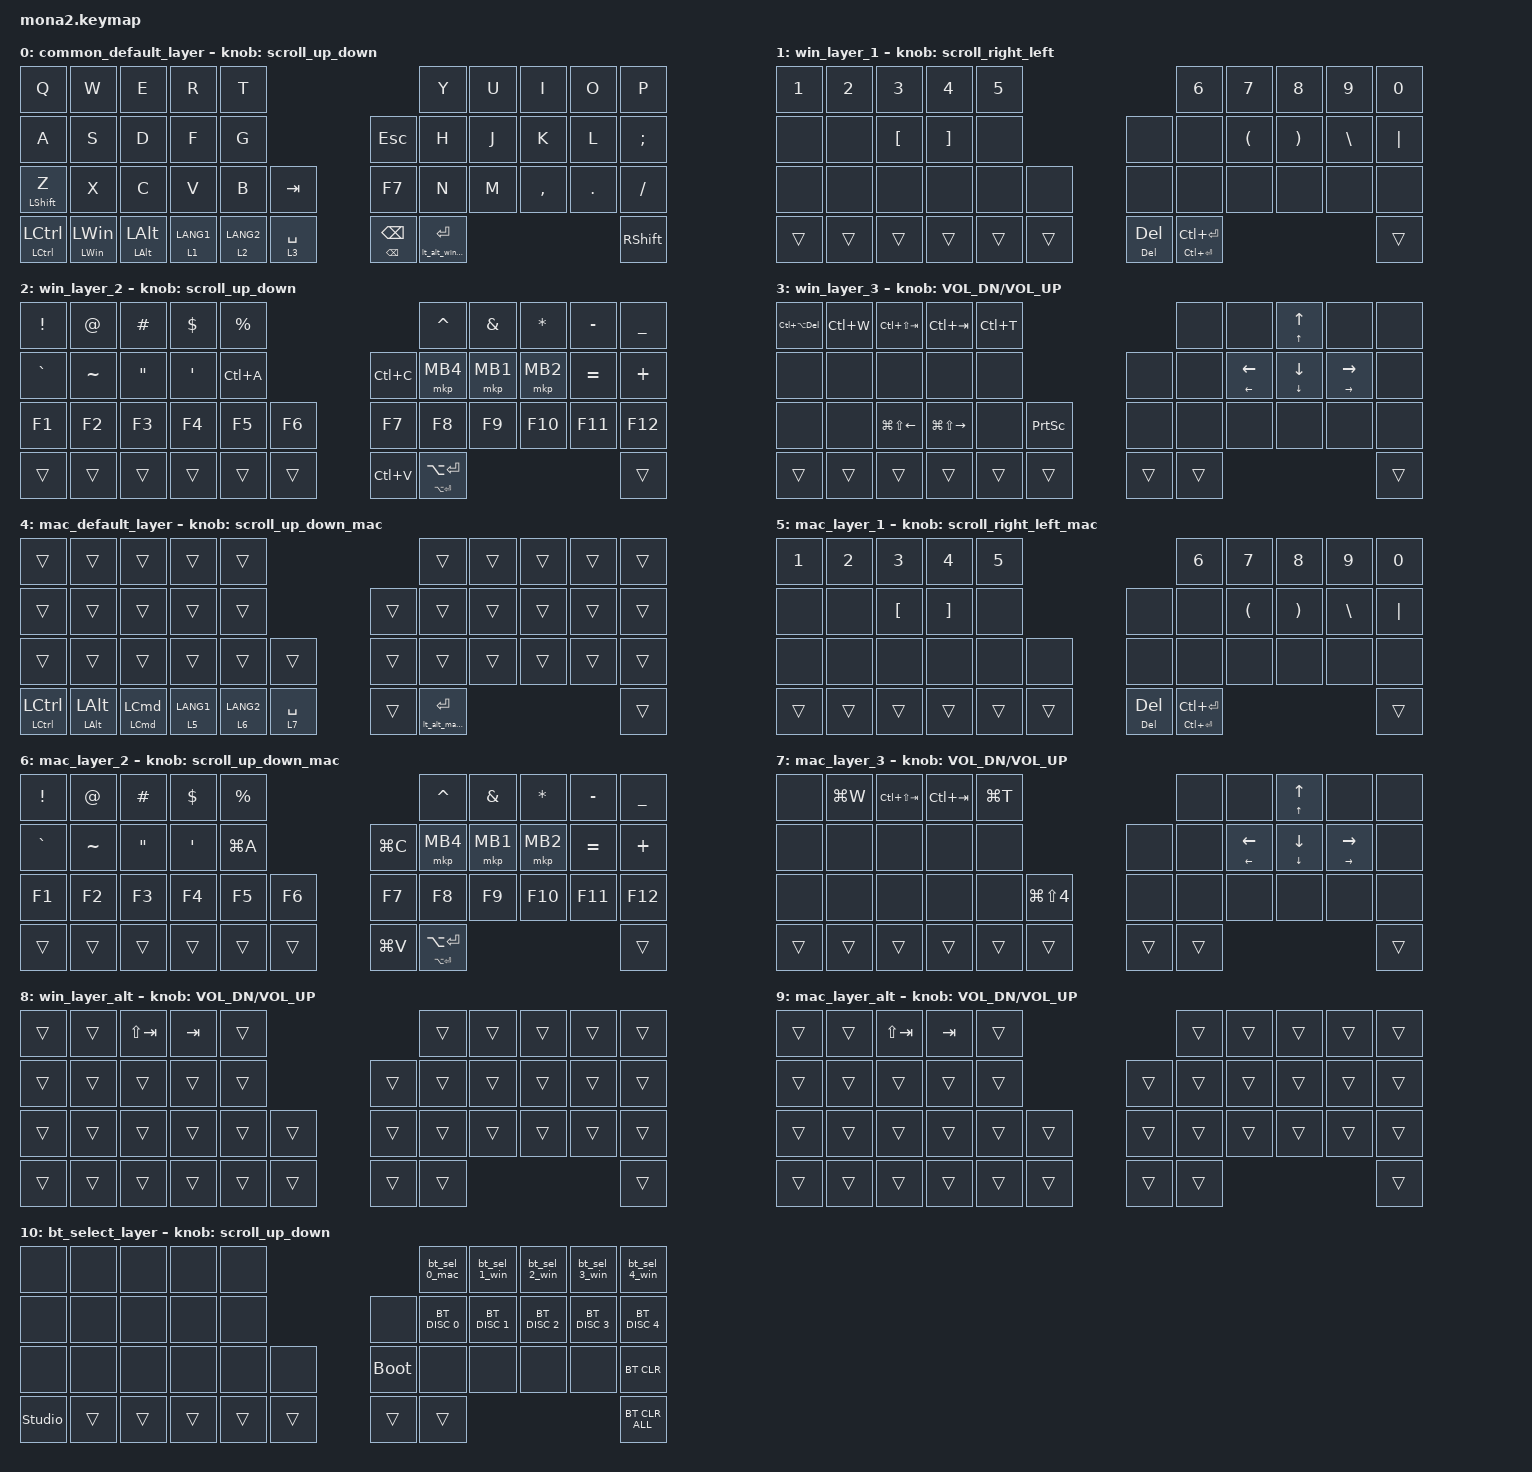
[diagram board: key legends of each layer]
#include <input/processors.dtsi>
#include <dt-bindings/zmk/input_transform.h>
#include <zephyr/dt-bindings/input/input-event-codes.h>
#include <behaviors.dtsi>
#include <dt-bindings/zmk/bt.h>
#include <dt-bindings/zmk/keys.h>
#include <dt-bindings/zmk/pointing.h>

#define ZMK_POINTING_DEFAULT_SCRL_VAL 100

&mt {
    flavor = "balanced";
    quick-tap-ms = <0>;
};

&lt {
    quick-tap-ms = <300>;
    flavor = "balanced";
};

/ {
    combos {
        compatible = "zmk,combos";

        layer4_ESC {
            bindings = <&lt 10 ESC>;
            key-positions = <39 38>;
        };
    };

    macros {
        bt_sel_0_mac: bt_sel_0_mac {
            compatible = "zmk,behavior-macro";
            #binding-cells = <0>;
            bindings = <&bt BT_SEL 0 &to 4>;
            label = "BT_SEL_0_MAC";
        };

        bt_sel_1_win: bt_sel_1_win {
            compatible = "zmk,behavior-macro";
            #binding-cells = <0>;
            bindings = <&bt BT_SEL 1 &to 0>;
            label = "BT_SEL_1_WIN";
        };

        bt_sel_2_win: bt_sel_2_win {
            compatible = "zmk,behavior-macro";
            #binding-cells = <0>;
            bindings = <&bt BT_SEL 2 &to 0>;
            label = "BT_SEL_2_WIN";
        };

        bt_sel_3_win: bt_sel_3_win {
            compatible = "zmk,behavior-macro";
            #binding-cells = <0>;
            bindings = <&bt BT_SEL 3 &to 0>;
            label = "BT_SEL_3_WIN";
        };

        bt_sel_4_win: bt_sel_4_win {
            compatible = "zmk,behavior-macro";
            #binding-cells = <0>;
            bindings = <&bt BT_SEL 4 &to 0>;
            label = "BT_SEL_4_WIN";
        };

        lt_alt_win: lt_alt_win {
            compatible = "zmk,behavior-macro";
            #binding-cells = <0>;
            bindings =
                <&macro_press>,
                <&kp LALT>,
                <&macro_press>,
                <&mo 8>,
                <&macro_pause_for_release>,
                <&macro_release>,
                <&mo 8>,
                <&macro_release>,
                <&kp LALT>;

            label = "LT_ALT_WIN";
        };

        lt_alt_mac: lt_alt_mac {
            compatible = "zmk,behavior-macro";
            #binding-cells = <0>;
            bindings =
                <&macro_press>,
                <&kp LGUI>,
                <&macro_press>,
                <&mo 9>,
                <&macro_pause_for_release>,
                <&macro_release>,
                <&mo 9>,
                <&macro_release>,
                <&kp LGUI>;

            label = "LT_ALT_MAC";
        };

        lt_alt_win_ht: lt_alt_win_ht {
            compatible = "zmk,behavior-macro-one-param";
            #binding-cells = <1>;
            bindings =
                <&macro_press>,
                <&kp LALT>,
                <&macro_press>,
                <&mo 8>,
                <&macro_pause_for_release>,
                <&macro_release>,
                <&mo 8>,
                <&macro_release>,
                <&kp LALT>;

            label = "LT_ALT_WIN_HT";
        };

        lt_alt_mac_ht: lt_alt_mac_ht {
            compatible = "zmk,behavior-macro-one-param";
            #binding-cells = <1>;
            bindings =
                <&macro_press>,
                <&kp LGUI>,
                <&macro_press>,
                <&mo 9>,
                <&macro_pause_for_release>,
                <&macro_release>,
                <&mo 9>,
                <&macro_release>,
                <&kp LGUI>;

            label = "LT_ALT_MAC_HT";
        };
    };

    behaviors {
        scroll_up_down: mouse_wheel_up_down {
            compatible = "zmk,behavior-sensor-rotate";
            #sensor-binding-cells = <0>;
            bindings = <&msc SCRL_DOWN>, <&msc SCRL_UP>;

            tap-ms = <20>;
        };

        scroll_right_left: mouse_wheel_right_left {
            compatible = "zmk,behavior-sensor-rotate";
            #sensor-binding-cells = <0>;
            bindings = <&msc SCRL_LEFT>, <&msc SCRL_RIGHT>;

            tap-ms = <20>;
        };

        scroll_up_down_mac: mouse_wheel_up_down_mac {
            compatible = "zmk,behavior-sensor-rotate";
            #sensor-binding-cells = <0>;
            bindings = <&msc SCRL_UP>, <&msc SCRL_DOWN>;

            tap-ms = <20>;
        };

        scroll_right_left_mac: mouse_wheel_right_left_mac {
            compatible = "zmk,behavior-sensor-rotate";
            #sensor-binding-cells = <0>;
            bindings = <&msc SCRL_LEFT>, <&msc SCRL_RIGHT>;

            tap-ms = <20>;
        };

        enter_alt_win: enter_alt_win {
            compatible = "zmk,behavior-hold-tap";
            #binding-cells = <2>;
            tapping-term-ms = <200>;
            quick-tap-ms = <300>;
            flavor = "balanced";
            bindings = <&lt_alt_win_ht &kp>;
        };

        enter_alt_mac: enter_alt_mac {
            compatible = "zmk,behavior-hold-tap";
            #binding-cells = <2>;
            tapping-term-ms = <200>;
            quick-tap-ms = <300>;
            flavor = "balanced";
            bindings = <&lt_alt_mac_ht &kp>;
        };

    };

    keymap {
        compatible = "zmk,keymap";

        common_default_layer {
            bindings = <
&kp Q                          &kp W                  &kp E                  &kp R        &kp T                                                &kp Y            &kp U  &kp I      &kp O    &kp P
&kp A                          &kp S                  &kp D                  &kp F        &kp G                       &kp ESCAPE               &kp H            &kp J  &kp K      &kp L    &kp SEMICOLON
&mt LSHIFT Z                   &kp X                  &kp C                  &kp V        &kp B        &kp TAB        &kp F7                   &kp N            &kp M  &kp COMMA  &kp DOT  &kp SLASH
&mt LEFT_CONTROL LEFT_CONTROL  &mt LEFT_WIN LEFT_WIN  &mt LEFT_ALT LEFT_ALT  &lt 1 LANG1  &lt 2 LANG2  &lt 3 SPACE    &mt BACKSPACE BACKSPACE  &enter_alt_win 0 ENTER                             &kp RIGHT_SHIFT
            >;

            sensor-bindings = <&scroll_up_down>;
        };

        win_layer_1 {
            bindings = <
&kp NUMBER_1  &kp NUMBER_2  &kp NUMBER_3      &kp NUMBER_4       &kp NUMBER_5                               &kp NUMBER_6             &kp NUMBER_7          &kp NUMBER_8           &kp NUMBER_9   &kp NUMBER_0
&none         &none         &kp LEFT_BRACKET  &kp RIGHT_BRACKET  &none                   &none              &none                    &kp LEFT_PARENTHESIS  &kp RIGHT_PARENTHESIS  &kp BACKSLASH  &kp PIPE
&none         &none         &none             &none              &none         &none     &none              &none                    &none                 &none                  &none          &none
&trans        &trans        &trans            &trans             &trans        &trans    &mt DELETE DELETE  &mt LC(ENTER) LC(ENTER)                                                              &trans
            >;

            sensor-bindings = <&scroll_right_left>;
        };

        win_layer_2 {
            bindings = <
&kp EXCLAMATION  &kp AT_SIGN  &kp POUND          &kp DOLLAR  &kp PERCENT                       &kp CARET                &kp AMPERSAND  &kp ASTERISK  &kp MINUS  &kp UNDERSCORE
&kp GRAVE        &kp TILDE    &kp DOUBLE_QUOTES  &kp SQT     &kp LC(A)              &kp LC(C)  &mkp MB4                 &mkp MB1       &mkp MB2      &kp EQUAL  &kp PLUS
&kp F1           &kp F2       &kp F3             &kp F4      &kp F5       &kp F6    &kp F7     &kp F8                   &kp F9         &kp F10       &kp F11    &kp F12
&trans           &trans       &trans             &trans      &trans       &trans    &kp LC(V)  &mt LA(ENTER) LA(ENTER)                                          &trans
            >;

            sensor-bindings = <&scroll_up_down>;
        };

        win_layer_3 {
            bindings = <
&kp LC(LA(DELETE))  &kp LC(W)  &kp LC(LS(TAB))         &kp LC(TAB)              &kp LC(T)                             &none   &none                      &mt UP_ARROW UP_ARROW      &none                        &none
&none               &none      &none                   &none                    &none                         &none   &none   &mt LEFT_ARROW LEFT_ARROW  &mt DOWN_ARROW DOWN_ARROW  &mt RIGHT_ARROW RIGHT_ARROW  &none
&none               &none      &kp LG(LS(LEFT_ARROW))  &kp LG(LS(RIGHT_ARROW))  &none      &kp PRINTSCREEN    &none   &none   &none                      &none                      &none                        &none
&trans              &trans     &trans                  &trans                   &trans     &trans             &trans  &trans                                                                                     &trans
            >;

            sensor-bindings = <&inc_dec_kp C_VOL_DN C_VOL_UP>;
        };

        mac_default_layer {
            bindings = <
&trans                         &trans                 &trans                         &trans       &trans                              &trans  &trans  &trans  &trans  &trans
&trans                         &trans                 &trans                         &trans       &trans                      &trans  &trans  &trans  &trans  &trans  &trans
&trans                         &trans                 &trans                         &trans       &trans       &trans         &trans  &trans  &trans  &trans  &trans  &trans
&mt LEFT_CONTROL LEFT_CONTROL  &mt LEFT_ALT LEFT_ALT  &mt LEFT_COMMAND LEFT_COMMAND  &lt 5 LANG1  &lt 6 LANG2  &lt 7 SPACE    &trans  &enter_alt_mac 0 ENTER                          &trans
            >;

            sensor-bindings = <&scroll_up_down_mac>;
        };

        mac_layer_1 {
            bindings = <
&kp NUMBER_1  &kp NUMBER_2  &kp NUMBER_3      &kp NUMBER_4       &kp NUMBER_5                               &kp NUMBER_6             &kp NUMBER_7          &kp NUMBER_8           &kp NUMBER_9   &kp NUMBER_0
&none         &none         &kp LEFT_BRACKET  &kp RIGHT_BRACKET  &none                   &none              &none                    &kp LEFT_PARENTHESIS  &kp RIGHT_PARENTHESIS  &kp BACKSLASH  &kp PIPE
&none         &none         &none             &none              &none         &none     &none              &none                    &none                 &none                  &none          &none
&trans        &trans        &trans            &trans             &trans        &trans    &mt DELETE DELETE  &mt LC(ENTER) LC(ENTER)                                                              &trans
            >;

            sensor-bindings = <&scroll_right_left_mac>;
        };

        mac_layer_2 {
            bindings = <
&kp EXCLAMATION  &kp AT_SIGN  &kp POUND          &kp DOLLAR  &kp PERCENT                       &kp CARET                &kp AMPERSAND  &kp ASTERISK  &kp MINUS  &kp UNDERSCORE
&kp GRAVE        &kp TILDE    &kp DOUBLE_QUOTES  &kp SQT     &kp LG(A)              &kp LG(C)  &mkp MB4                 &mkp MB1       &mkp MB2      &kp EQUAL  &kp PLUS
&kp F1           &kp F2       &kp F3             &kp F4      &kp F5       &kp F6    &kp F7     &kp F8                   &kp F9         &kp F10       &kp F11    &kp F12
&trans           &trans       &trans             &trans      &trans       &trans    &kp LG(V)  &mt LA(ENTER) LA(ENTER)                                          &trans
            >;

            sensor-bindings = <&scroll_up_down_mac>;
        };

        mac_layer_3 {
            bindings = <
&none   &kp LG(W)  &kp LC(LS(TAB))  &kp LC(TAB)  &kp LG(T)                                  &none   &none                      &mt UP_ARROW UP_ARROW      &none                        &none
&none   &none      &none            &none        &none                              &none   &none   &mt LEFT_ARROW LEFT_ARROW  &mt DOWN_ARROW DOWN_ARROW  &mt RIGHT_ARROW RIGHT_ARROW  &none
&none   &none      &none            &none        &none      &kp LG(LS(NUMBER_4))    &none   &none   &none                      &none                      &none                        &none
&trans  &trans     &trans           &trans       &trans     &trans                  &trans  &trans                                                                                     &trans
            >;

            sensor-bindings = <&inc_dec_kp C_VOL_DN C_VOL_UP>;
        };

        win_layer_alt {
            bindings = <
&trans  &trans  &kp LS(TAB)  &kp TAB  &trans                    &trans  &trans  &trans  &trans  &trans
&trans  &trans  &trans       &trans   &trans            &trans  &trans  &trans  &trans  &trans  &trans
&trans  &trans  &trans       &trans   &trans  &trans    &trans  &trans  &trans  &trans  &trans  &trans
&trans  &trans  &trans       &trans   &trans  &trans    &trans  &trans                          &trans
            >;

            sensor-bindings = <&inc_dec_kp C_VOL_DN C_VOL_UP>;
        };

        mac_layer_alt {
            bindings = <
&trans  &trans  &kp LS(TAB)  &kp TAB  &trans                    &trans  &trans  &trans  &trans  &trans
&trans  &trans  &trans       &trans   &trans            &trans  &trans  &trans  &trans  &trans  &trans
&trans  &trans  &trans       &trans   &trans  &trans    &trans  &trans  &trans  &trans  &trans  &trans
&trans  &trans  &trans       &trans   &trans  &trans    &trans  &trans                          &trans
            >;

            sensor-bindings = <&inc_dec_kp C_VOL_DN C_VOL_UP>;
        };

        bt_select_layer {
            bindings = <
&none           &none   &none   &none   &none                          &bt_sel_0_mac  &bt_sel_1_win  &bt_sel_2_win  &bt_sel_3_win  &bt_sel_4_win
&none           &none   &none   &none   &none             &none        &bt BT_DISC 0  &bt BT_DISC 1  &bt BT_DISC 2  &bt BT_DISC 3  &bt BT_DISC 4
&none           &none   &none   &none   &none   &none     &bootloader  &none          &none          &none          &none          &bt BT_CLR
&studio_unlock  &trans  &trans  &trans  &trans  &trans    &trans       &trans                                                      &bt BT_CLR_ALL
            >;

            sensor-bindings = <&scroll_up_down>;
        };
    };
};
